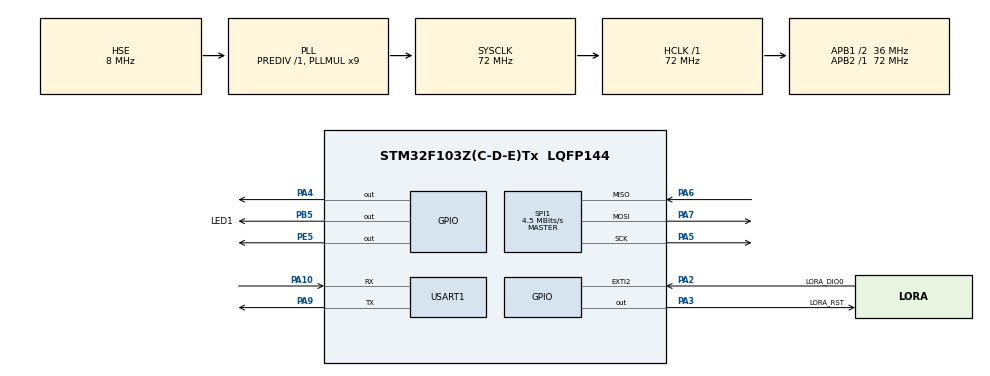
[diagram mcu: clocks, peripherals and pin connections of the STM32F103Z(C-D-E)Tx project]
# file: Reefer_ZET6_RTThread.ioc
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Mcu.Family=STM32F1
Mcu.Name=STM32F103Z(C-D-E)Tx
Mcu.Package=LQFP144
NVIC.EXTI2_IRQn=true\:2\:0\:true\:false\:true\:true\:true
NVIC.PriorityGroup=NVIC_PRIORITYGROUP_4
NVIC.SPI1_IRQn=true\:1\:0\:true\:false\:true\:true\:true
NVIC.TIM6_IRQn=true\:0\:0\:true\:false\:true\:false\:true
NVIC.TimeBase=TIM6_IRQn
NVIC.TimeBaseIP=TIM6
NVIC.USART1_IRQn=true\:3\:0\:true\:false\:true\:true\:true
OSC_IN.Mode=HSE-External-Oscillator
OSC_IN.Signal=RCC_OSC_IN
OSC_OUT.Mode=HSE-External-Oscillator
OSC_OUT.Signal=RCC_OSC_OUT
PA10.Mode=Asynchronous
PA10.Signal=USART1_RX
PA13.Mode=Serial_Wire
PA13.Signal=SYS_JTMS-SWDIO
PA14.Mode=Serial_Wire
PA14.Signal=SYS_JTCK-SWCLK
PA2.GPIO_Label=LORA_DIO0
PA2.GPIO_PuPd=GPIO_PULLDOWN
PA2.Signal=GPXTI2
PA3.GPIO_Label=LORA_RST
PA3.PinState=GPIO_PIN_SET
PA3.Signal=GPIO_Output
PA4.GPIO_Speed=GPIO_SPEED_FREQ_HIGH
PA4.PinState=GPIO_PIN_SET
PA4.Signal=GPIO_Output
PA5.Mode=Full_Duplex_Master
PA5.Signal=SPI1_SCK
PA6.Mode=Full_Duplex_Master
PA6.Signal=SPI1_MISO
PA7.Mode=Full_Duplex_Master
PA7.Signal=SPI1_MOSI
PA9.Mode=Asynchronous
PA9.Signal=USART1_TX
PB5.GPIO_Label=LED1
PB5.Signal=GPIO_Output
PE5.Signal=GPIO_Output
ProjectManager.HeapSize=0x200
ProjectManager.StackSize=0x400
ProjectManager.TargetToolchain=MDK-ARM V5.32
RCC.AHBFreq_Value=72000000
RCC.APB1CLKDivider=RCC_HCLK_DIV2
RCC.APB1Freq_Value=36000000
RCC.APB1TimFreq_Value=72000000
RCC.APB2Freq_Value=72000000
RCC.APB2TimFreq_Value=72000000
RCC.HCLKFreq_Value=72000000
RCC.PLLMUL=RCC_PLL_MUL9
RCC.PLLSourceVirtual=RCC_PLLSOURCE_HSE
RCC.SYSCLKFreq_VALUE=72000000
RCC.SYSCLKSource=RCC_SYSCLKSOURCE_PLLCLK
RCC.USBFreq_Value=72000000
SPI1.BaudRatePrescaler=SPI_BAUDRATEPRESCALER_16
SPI1.CalculateBaudRate=4.5 MBits/s
SPI1.Direction=SPI_DIRECTION_2LINES
SPI1.Mode=SPI_MODE_MASTER
SPI1.VirtualType=VM_MASTER
USART1.VirtualMode=VM_ASYNC
VP_SYS_VS_tim6.Mode=TIM6
board=custom

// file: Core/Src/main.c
/* USER CODE BEGIN Header */
/**
  ******************************************************************************
  * @file           : main.c
  * @brief          : Main program body
  ******************************************************************************
  * @attention
  *
  * Copyright (c) 2025 STMicroelectronics.
  * All rights reserved.
  *
  * This software is licensed under terms that can be found in the LICENSE file
  * in the root directory of this software component.
  * If no LICENSE file comes with this software, it is provided AS-IS.
  *
  ******************************************************************************
  */
/* USER CODE END Header */
#include "main.h"
#include "spi.h"
#include "usart.h"
#include "gpio.h"

/* USER CODE BEGIN Includes */
#include <rtthread.h>
#include "app_lora_protocol.h"
extern int App_LoRa_Init(void);
/* USER CODE END Includes */

void SystemClock_Config(void);

/* USER CODE BEGIN 0 */
/**
 * @brief  统一启动用户线程的函数
 * 放在这里管理，避免 main 函数太乱
 */
void User_App_Start(void)
{
    rt_thread_t tid;

/* ================== 创建 LoRa 接收线程 ================== */
    /* * lora_rx_thread_entry: 在 bsp_lora.c 中定义
     * 栈大小: 1024 (1KB)，如果后续发现栈溢出可以改大
     * 优先级: 25 (RT-Thread 默认范围0-31, 25属于中低优先级，不影响关键系统任务)
     * 时间片: 10 tick
     */
    tid = rt_thread_create("lora_rx",
                           lora_rx_thread_entry, RT_NULL,
                           1024, 25, 10); // 栈1024, 优先级25, 时间片10
    if (tid != RT_NULL) {
        rt_thread_startup(tid);
        rt_kprintf("[Main] LoRa RX Thread Started.\n");
    }else {
        rt_kprintf("[Main] Error: LoRa RX Thread Create Failed!\n");
    }

    /* 2. 如果以后有PID线程或者其他业务线程，都在这里创建 */
    /* tid = rt_thread_create("pid_task", pid_thread_entry, ...);
    if (tid != RT_NULL) rt_thread_startup(tid);
    */
}

/* USER CODE END 0 */

int main(void)
{

  /* MCU Configuration--------------------------------------------------------*/

  /* Reset of all peripherals, Initializes the Flash interface and the Systick. */
  HAL_Init();

  /* Configure the system clock */
  SystemClock_Config();

  /* Initialize all configured peripherals */
  MX_GPIO_Init();
  MX_SPI1_Init();
  MX_USART1_UART_Init();
  /* USER CODE BEGIN 2 */
    rt_kprintf("System Starting...\n");

//  /* 1. 初始化 LoRa 硬件 */
//  /* 先初始化硬件，成功了再跑线程，防止线程跑起来去操作还没初始化的SPI */
//  if (LoRa_Init() == RT_EOK)
//  {
//      rt_kprintf("[Main] LoRa Hardware Init Success.\n");
//
//      /* 2. 启动用户线程 */
//      User_App_Start();
//  }
//  else
//  {
//      rt_kprintf("[Main] LoRa Init Failed! Check Wiring.\n");
//  }

  rt_kprintf("System Init Done. Starting LoRa...\n");
  App_LoRa_Init();

  /* USER CODE END 2 */

  /* Infinite loop */
  while (1)
  {

    /* USER CODE BEGIN 3 */

    rt_thread_mdelay(100); // 改快一点，提高响应速度
  }
  /* USER CODE END 3 */
}

void SystemClock_Config(void)
{
  RCC_OscInitTypeDef RCC_OscInitStruct = {0};
  RCC_ClkInitTypeDef RCC_ClkInitStruct = {0};

  /** Initializes the RCC Oscillators according to the specified parameters
  * in the RCC_OscInitTypeDef structure.
  */
  RCC_OscInitStruct.OscillatorType = RCC_OSCILLATORTYPE_HSE;
  RCC_OscInitStruct.HSEState = RCC_HSE_ON;
  RCC_OscInitStruct.HSEPredivValue = RCC_HSE_PREDIV_DIV1;
  RCC_OscInitStruct.HSIState = RCC_HSI_ON;
  RCC_OscInitStruct.PLL.PLLState = RCC_PLL_ON;
  RCC_OscInitStruct.PLL.PLLSource = RCC_PLLSOURCE_HSE;
  RCC_OscInitStruct.PLL.PLLMUL = RCC_PLL_MUL9;
  if (HAL_RCC_OscConfig(&RCC_OscInitStruct) != HAL_OK)
  {
    Error_Handler();
  }
  /** Initializes the CPU, AHB and APB buses clocks
  */
  RCC_ClkInitStruct.ClockType = RCC_CLOCKTYPE_HCLK|RCC_CLOCKTYPE_SYSCLK
                              |RCC_CLOCKTYPE_PCLK1|RCC_CLOCKTYPE_PCLK2;
  RCC_ClkInitStruct.SYSCLKSource = RCC_SYSCLKSOURCE_PLLCLK;
  RCC_ClkInitStruct.AHBCLKDivider = RCC_SYSCLK_DIV1;
  RCC_ClkInitStruct.APB1CLKDivider = RCC_HCLK_DIV2;
  RCC_ClkInitStruct.APB2CLKDivider = RCC_HCLK_DIV1;

  if (HAL_RCC_ClockConfig(&RCC_ClkInitStruct, FLASH_LATENCY_2) != HAL_OK)
  {
    Error_Handler();
  }
}

void HAL_TIM_PeriodElapsedCallback(TIM_HandleTypeDef *htim)
{
  if (htim->Instance == TIM6) {
    HAL_IncTick();
  }
}

void Error_Handler(void)
{
  __disable_irq();
  while (1)
  {
  }
}
